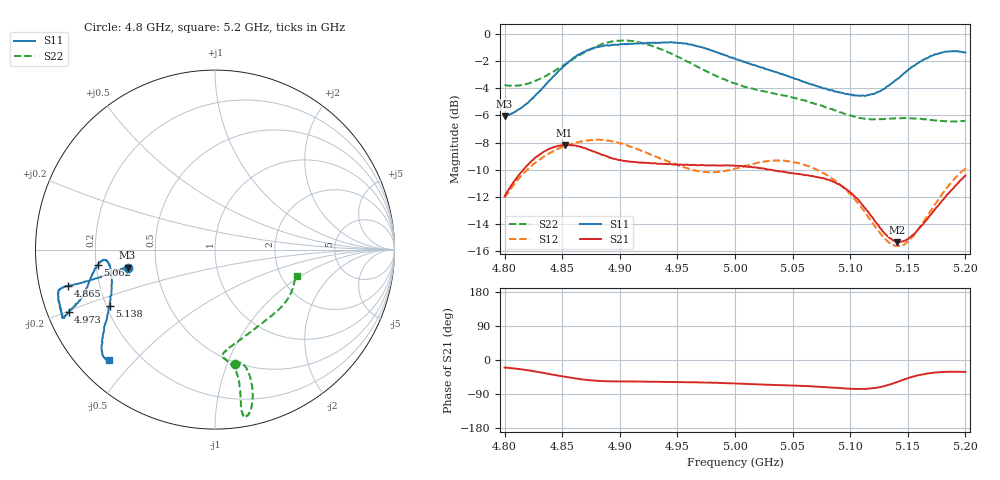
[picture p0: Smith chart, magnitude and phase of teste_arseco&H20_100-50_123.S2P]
! Network Analyzer HP8722D
! Hewlett-Packard
! Data name: Linha & Wilkinson
! Saver's name: Rodrigo Anjos
! Comments: Teste da utilização de aquisição
! continua pelo VNA HP8722D
! Time and date: 6/5/2025 13:35
!  Frequency  S11  S21  S12  S22
# HZ  S  MA R 50
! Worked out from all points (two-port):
!   401 points, 4.8 GHz to 5.2 GHz, reference 50 ohm
!   highest |S21| = -8.17 dB at 4.852 GHz (marker M1); lowest = -15.3 dB at 5.141 GHz (marker M2)
!   |S21| within 3 dB of the highest: 4.806 GHz to 5.092 GHz (286.5 MHz wide, 5.79 % of centre); 5.191452 GHz to end of sweep
!   lowest |S11| = -6.1 dB at 4.8 GHz (marker M3), VSWR 2.98, Z = 16.9 - j4.53 ohm
!   |S11| at or under -10 dB: nowhere
!   |S22| runs from -6.5 to -0.5 dB; largest |S21 - S12| = 0.62
!   S11 on the Smith chart (normalised r, x): 4.8 GHz: 0.34, -0.09; 4.865 GHz: 0.09, -0.12; 4.973 GHz: 0.06, -0.20; 5.062 GHz: 0.21, -0.06; 5.138 GHz: 0.21, -0.24; 5.2 GHz: 0.09, -0.42
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4.8e9  0.4977 -168.3  0.2532 -20.0  0.25 -141.1  0.6483 -80.4
4.826e9  0.5891 -167.4  0.3487 -30.0  0.334 -144.8  0.6689 -75.7
4.852e9  0.7646 -166.1  0.3905 -44.2  0.3859 -149.7  0.7704 -74.6
4.865e9  0.8413 -166.2  0.3854 -50.2  0.4008 -152.0  0.8333 -75.3
4.867e9  0.8504 -166.1  0.3835 -51.2  0.4021 -152.3  0.8438 -75.5
4.898e9  0.9108 -163.3  0.3446 -56.5  0.3974 -156.7  0.9427 -79.0
4.914e9  0.9195 -159.9  0.3376 -56.6  0.3784 -157.3  0.9352 -80.3
4.934e9  0.9268 -156.5  0.3325 -57.7  0.3501 -155.8  0.8817 -80.6
4.973e9  0.8869 -157.0  0.3286 -59.6  0.3104 -145.9  0.7354 -79.8
5e9  0.8101 -159.3  0.327 -62.0  0.3197 -137.4  0.6562 -81.3
5.035e9  0.724 -165.5  0.314 -66.0  0.3419 -134.5  0.602 -85.7
5.062e9  0.6597 -172.5  0.3018 -68.7  0.328 -136.5  0.5651 -83.7
5.067e9  0.6508 -173.3  0.3001 -69.4  0.3223 -136.9  0.5576 -82.6
5.087e9  0.6141 -174.6  0.2841 -73.3  0.2882 -138.7  0.5224 -74.8
5.102e9  0.5928 -171.9  0.2572 -76.1  0.2522 -138.8  0.4982 -65.9
5.117e9  0.5965 -164.9  0.2169 -75.6  0.2082 -135.0  0.4854 -55.0
5.134e9  0.647 -154.2  0.1781 -65.0  0.1703 -120.5  0.4874 -43.3
5.138e9  0.6667 -151.8  0.1734 -60.8  0.1668 -115.3  0.4877 -40.7
5.141e9  0.6827 -150.3  0.1715 -57.5  0.1657 -111.4  0.4887 -39.1
5.154e9  0.7574 -144.6  0.1817 -44.4  0.1795 -95.1  0.4881 -32.3
5.172e9  0.8332 -139.3  0.2221 -33.6  0.2306 -81.3  0.4809 -24.6
5.2e9  0.8528 -133.9  0.3012 -31.6  0.3193 -77.1  0.4777 -17.6
